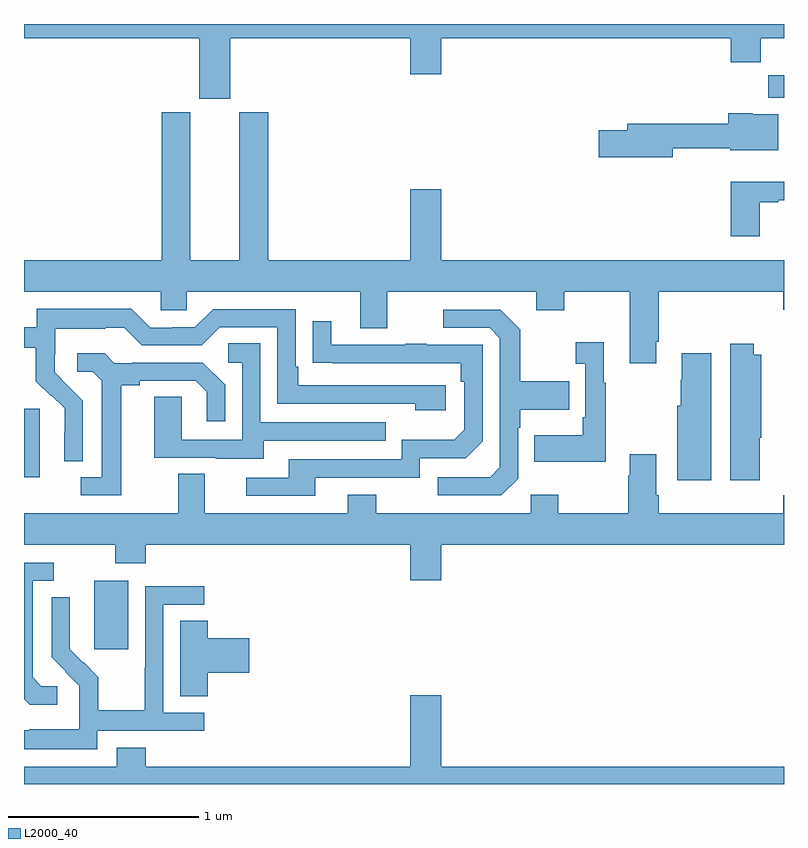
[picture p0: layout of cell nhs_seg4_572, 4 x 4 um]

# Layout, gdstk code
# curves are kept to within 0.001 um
import gdstk
lib = gdstk.Library(unit=1e-6, precision=1e-09)
def R(c, l, rs):  # rectangles x0, y0, x1, y1
    for r in rs: c.add(gdstk.rectangle(r[:2], r[2:], *l))
def P(c, l, *ps):  # polygons
    for p in ps: c.add(gdstk.Polygon(p, *l))
L2000_40 = (2000, 40)

nhs_seg4_572 = lib.new_cell('nhs_seg4_572')
R(nhs_seg4_572, L2000_40, [(139.37,789.609,139.549,789.97), (139,790.514,139.084,790.875), (142.918,792.512,143,792.631)])
P(nhs_seg4_572, L2000_40, [(140.086,792.824),(141.032,792.824),(141.032,792.636),(141.196,792.636),(141.196,792.824),(142.721,792.824),(142.721,792.7),(142.877,792.7),(142.877,792.824),(143,792.824),(143,792.9),(139,792.9),(139,792.824),(139.922,792.824),(139.922,792.507),(140.086,792.507)],
  [(139.724,791.656),(139,791.656),(139,791.492),(139.719,791.492),(139.719,791.394),(139.857,791.394),(139.857,791.492),(140.771,791.492),(140.771,791.298),(140.911,791.298),(140.911,791.492),(141.695,791.492),(141.695,791.393),(141.843,791.393),(141.843,791.492),(142.187,791.492),(142.187,791.115),(142.327,791.115),(142.327,791.227),(142.34,791.227),(142.34,791.492),(142.997,791.492),(142.997,791.396),(143,791.396),(143,791.656),(141.196,791.656),(141.196,792.031),(141.032,792.031),(141.032,791.656),(140.285,791.656),(140.285,792.435),(140.132,792.435),(140.132,791.656),(139.876,791.656),(139.876,792.435),(139.724,792.435)],
  [(142.414,792.247),(142.718,792.247),(142.718,792.236),(142.969,792.236),(142.969,792.424),(142.836,792.424),(142.836,792.43),(142.706,792.43),(142.706,792.376),(142.175,792.376),(142.175,792.342),(142.026,792.342),(142.026,792.2),(142.414,792.2)],
  [(142.873,791.961),(142.969,791.961),(142.969,791.973),(143,791.973),(143,792.07),(142.721,792.07),(142.721,791.784),(142.873,791.784)],
  [(139.308,790.918),(139.162,791.066),(139.162,791.163),(139.164,791.163),(139.164,791.297),(139.427,791.297),(139.427,791.301),(139.527,791.301),(139.62,791.208),(139.935,791.208),(140.031,791.304),(140.334,791.304),(140.334,790.902),(141.059,790.902),(141.059,790.868),(141.22,790.868),(141.22,790.998),(140.443,790.998),(140.443,791.095),(140.43,791.095),(140.43,791.4),(139.995,791.4),(139.899,791.304),(139.781,791.304),(139.781,791.301),(139.665,791.301),(139.565,791.401),(139.068,791.401),(139.068,791.304),(139,791.304),(139,791.196),(139.063,791.196),(139.063,791.021),(139.14,790.944),(139.143,790.947),(139.214,790.877),(139.214,790.754),(139.212,790.754),(139.212,790.6),(139.308,790.6)],
  [(141.6,790.506),(141.6,790.775),(141.613,790.775),(141.613,790.871),(141.869,790.871),(141.869,791.019),(141.613,791.019),(141.613,791.291),(141.507,791.397),(141.207,791.397),(141.207,791.301),(141.45,791.301),(141.504,791.247),(141.504,790.566),(141.453,790.515),(141.177,790.515),(141.177,790.419),(141.513,790.419)],
  [(140.533,790.512),(141.084,790.512),(141.084,790.614),(141.324,790.614),(141.414,790.704),(141.414,791.211),(141.119,791.211),(141.119,791.216),(141.007,791.216),(141.007,791.211),(140.617,791.211),(140.617,791.335),(140.521,791.335),(140.521,791.116),(141.298,791.115),(141.298,791.018),(141.318,791.018),(141.318,790.764),(141.265,790.711),(140.988,790.711),(140.988,790.608),(140.393,790.608),(140.393,790.512),(140.169,790.512),(140.169,790.416),(140.533,790.416)],
  [(142.063,791.011),(142.051,791.011),(142.051,791.224),(141.903,791.224),(141.903,791.111),(141.954,791.111),(141.954,790.831),(141.942,790.831),(141.942,790.735),(141.685,790.735),(141.685,790.595),(142.063,790.595)],
  [(140.263,790.707),(140.903,790.707),(140.903,790.803),(140.244,790.803),(140.244,791.219),(140.076,791.219),(140.076,791.118),(140.148,791.118),(140.148,790.713),(139.83,790.713),(139.83,790.937),(139.685,790.937),(139.685,790.617),(140.009,790.617),(140.009,790.613),(140.263,790.613)],
  [(142.873,790.723),(142.881,790.723),(142.881,791.158),(142.84,791.158),(142.84,791.218),(142.718,791.218),(142.718,790.5),(142.873,790.5)],
  [(142.618,791.167),(142.463,791.167),(142.463,791.027),(142.456,791.027),(142.456,790.89),(142.439,790.89),(142.439,790.5),(142.618,790.5)],
  [(139.513,791),(139.609,791),(139.609,791.022),(139.904,791.022),(139.961,790.965),(139.961,790.809),(140.058,790.809),(140.058,791.002),(139.942,791.118),(139.57,791.118),(139.57,791.115),(139.476,791.115),(139.424,791.167),(139.281,791.167),(139.281,791.07),(139.362,791.07),(139.409,791.023),(139.409,790.515),(139.299,790.515),(139.299,790.419),(139.513,790.419)],
  [(141.196,790.16),(143,790.16),(143,790.42),(142.997,790.42),(142.997,790.324),(142.34,790.324),(142.34,790.42),(142.327,790.42),(142.327,790.636),(142.187,790.636),(142.187,790.523),(142.18,790.523),(142.18,790.324),(141.813,790.324),(141.813,790.423),(141.666,790.423),(141.666,790.324),(140.853,790.324),(140.853,790.423),(140.705,790.423),(140.705,790.324),(139.951,790.324),(139.951,790.532),(139.811,790.532),(139.811,790.324),(139,790.324),(139,790.16),(139.48,790.16),(139.48,790.061),(139.64,790.061),(139.64,790.16),(141.032,790.16),(141.032,789.972),(141.196,789.972)],
  [(139.174,789.414),(139.092,789.414),(139.045,789.461),(139.045,789.969),(139.156,789.969),(139.156,790.065),(139,790.065),(139,789.347),(139.03,789.317),(139.174,789.317)],
  [(139.386,789.18),(139.948,789.18),(139.948,789.276),(139.734,789.276),(139.734,789.843),(139.948,789.843),(139.948,789.942),(139.638,789.942),(139.638,789.512),(139.636,789.512),(139.636,789.289),(139.391,789.289),(139.391,789.463),(139.314,789.54),(139.311,789.537),(139.241,789.608),(139.242,789.884),(139.146,789.884),(139.146,789.566),(139.292,789.418),(139.292,789.321),(139.29,789.321),(139.29,789.187),(139.027,789.187),(139.027,789.183),(139,789.183),(139,789.083),(139.386,789.083)],
  [(139.967,789.485),(140.185,789.485),(140.185,789.668),(139.967,789.668),(139.967,789.758),(139.823,789.758),(139.823,789.361),(139.967,789.361)],
  [(143,788.992),(141.196,788.992),(141.196,789.367),(141.032,789.367),(141.032,788.992),(139.64,788.992),(139.64,789.091),(139.487,789.091),(139.487,788.992),(139,788.992),(139,788.9),(143,788.9)])

lib.write_gds('nhs_seg4_572.gds')
